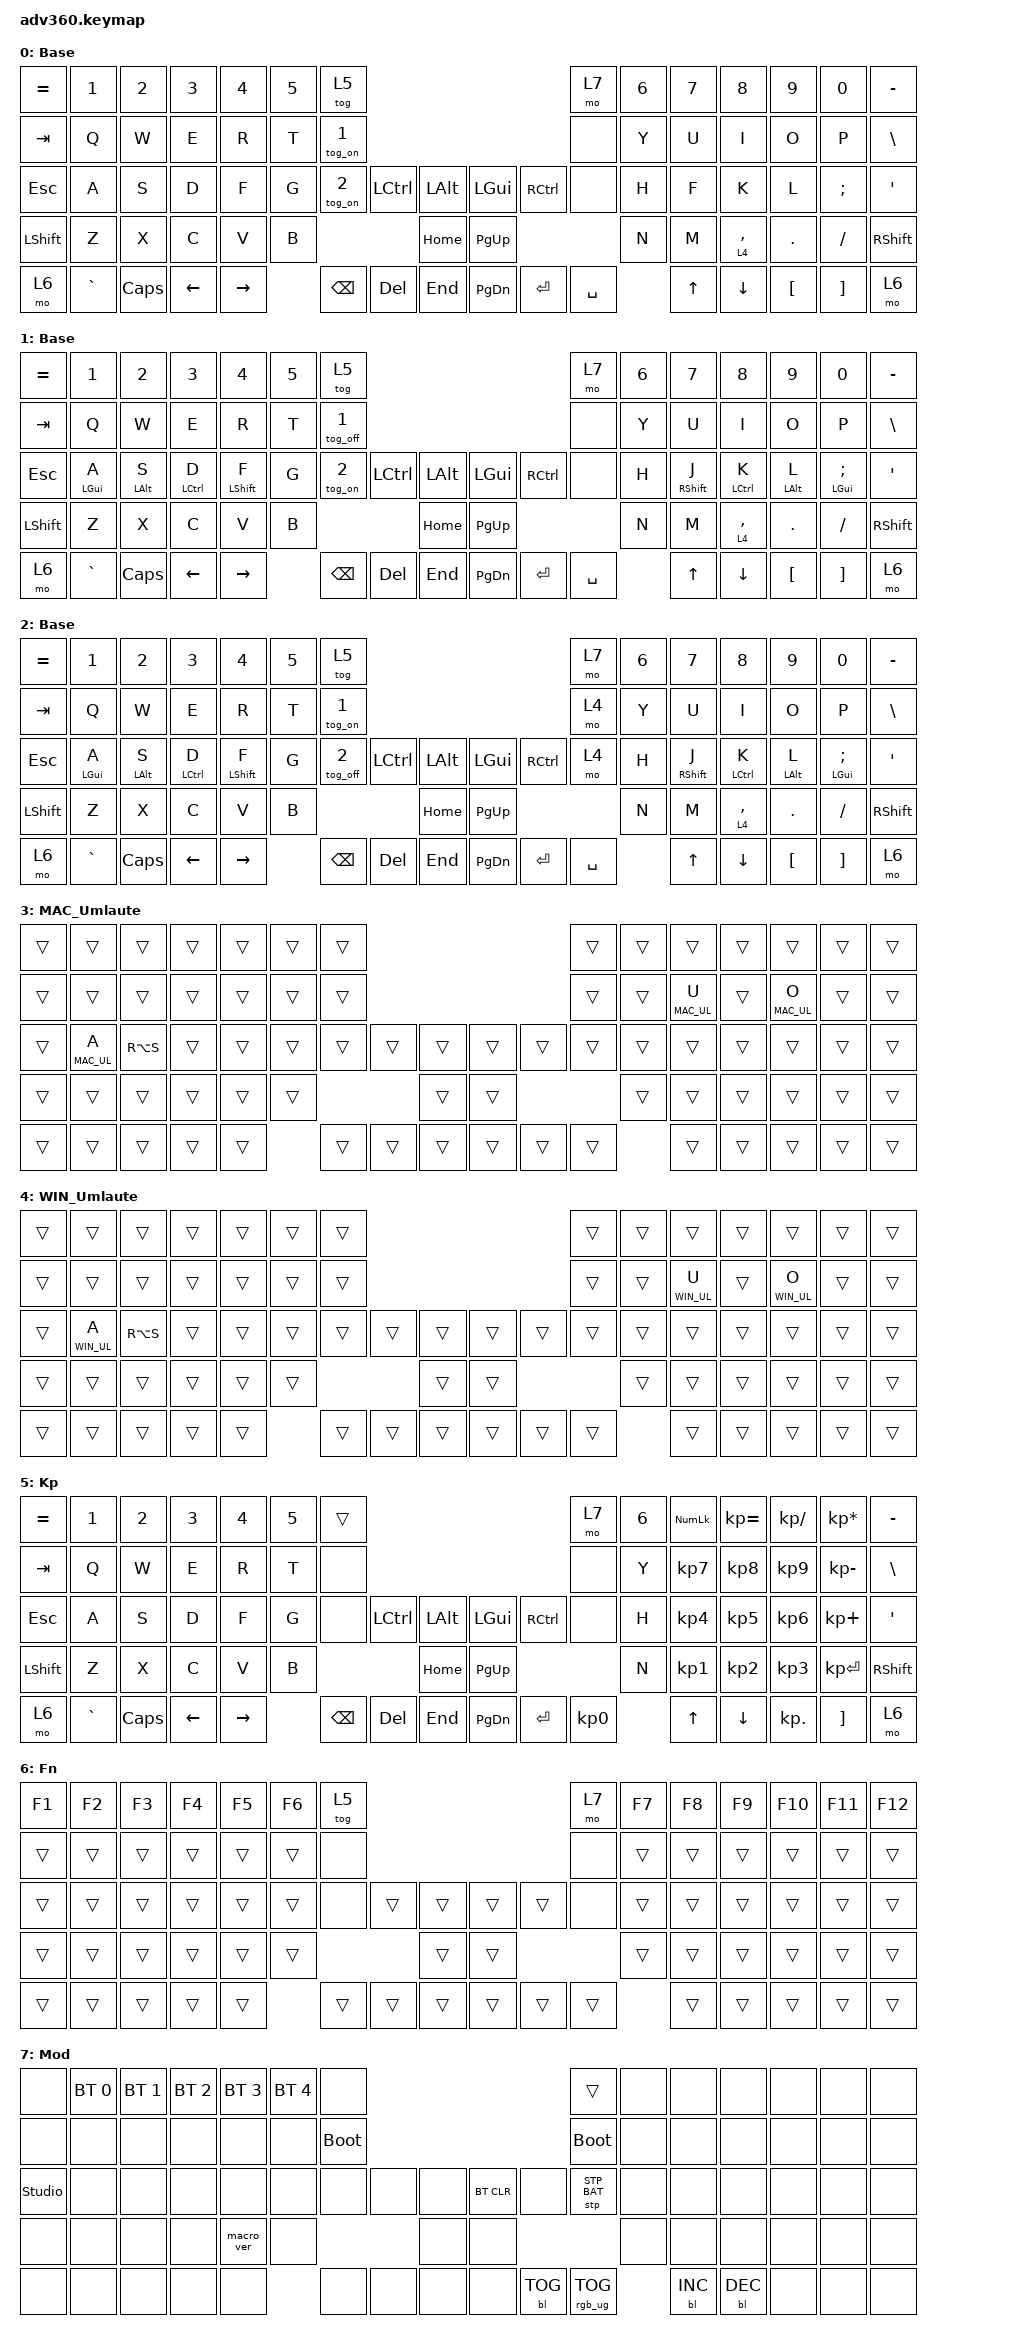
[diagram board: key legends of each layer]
#include <dt-bindings/zmk/stp.h>
#include <behaviors.dtsi>
#include <dt-bindings/zmk/backlight.h>
#include <dt-bindings/zmk/bt.h>
#include <dt-bindings/zmk/keys.h>
#include <dt-bindings/zmk/rgb.h>

/ {
    behaviors {
        #include "macros.dtsi"
      #include "version.dtsi"

        hm: homerow_mods {
            compatible = "zmk,behavior-hold-tap";
            label = "HOMEROW_MODS";
            #binding-cells = <2>;
            tapping-term-ms = <200>;
            quick_tap_ms = <175>;
            flavor = "tap-preferred";
            bindings = <&kp>, <&kp>;
        };

        tog_on: tog_on {
            compatible = "zmk,behavior-toggle-layer";
            label = "TOG_ON";
            #binding-cells = <1>;
        };

        tog_off: tog_off {
            compatible = "zmk,behavior-toggle-layer";
            label = "TOG_OFF";
            #binding-cells = <1>;
            toggle-mode = "off";
        };
    };

    macros {
        MAC_UL: MAC_Umlaut_X {
            compatible = "zmk,behavior-macro-one-param";
            #binding-cells = <1>;
            bindings =
                <&macro_tap>,
                <&kp LS(SINGLE_QUOTE)>,
                <&macro_tap>,
                <&macro_param_1to1 &kp MACRO_PLACEHOLDER>;

            label = "MAC_UMLAUT_X";
        };

        WIN_UL: WIN_UL {
            compatible = "zmk,behavior-macro-one-param";
            #binding-cells = <1>;
            bindings =
                <&macro_tap>,
                <&kp LS(SINGLE_QUOTE)>,
                <&macro_tap>,
                <&macro_param_1to1 &kp MACRO_PLACEHOLDER>;

            label = "WIN_UL";
        };
    };

    keymap {
        compatible = "zmk,keymap";

        Base {
            display-name = "Base";
            bindings = <
&kp EQUAL  &kp N1     &kp N2    &kp N3    &kp N4     &kp N5  &tog 5                                                    &mo 7      &kp N6  &kp N7  &kp N8       &kp N9    &kp N0    &kp MINUS
&kp TAB    &kp Q      &kp W     &kp E     &kp R      &kp T   &tog_on 1                                                 &none      &kp Y   &kp U   &kp I        &kp O     &kp P     &kp BSLH
&kp ESC    &kp A      &kp S     &kp D     &kp F      &kp G   &tog_on 2  &kp LCTRL  &kp LALT      &kp LGUI   &kp RCTRL  &none      &kp H   &kp F   &kp K        &kp L     &kp SEMI  &kp SQT
&kp LSHFT  &kp Z      &kp X     &kp C     &kp V      &kp B                         &kp HOME      &kp PG_UP                        &kp N   &kp M   &lt 4 COMMA  &kp DOT   &kp FSLH  &kp RSHFT
&mo 6      &kp GRAVE  &kp CAPS  &kp LEFT  &kp RIGHT          &kp BSPC   &kp DEL    &kp END       &kp PG_DN  &kp ENTER  &kp SPACE          &kp UP  &kp DOWN     &kp LBKT  &kp RBKT  &mo 6
            >;
        };

        MAC_Default {
            display-name = "Base";
            bindings = <
&kp EQUAL  &kp N1          &kp N2          &kp N3              &kp N4            &kp N5  &tog 5                                                     &mo 7      &kp N6  &kp N7             &kp N8              &kp N9          &kp N0             &kp MINUS
&kp TAB    &kp Q           &kp W           &kp E               &kp R             &kp T   &tog_off 1                                                 &none      &kp Y   &kp U              &kp I               &kp O           &kp P              &kp BSLH
&kp ESC    &hm LEFT_GUI A  &hm LEFT_ALT S  &hm LEFT_CONTROL D  &hm LEFT_SHIFT F  &kp G   &tog_on 2   &kp LCTRL  &kp LALT      &kp LGUI   &kp RCTRL  &none      &kp H   &hm RIGHT_SHIFT J  &hm LEFT_CONTROL K  &hm LEFT_ALT L  &hm LEFT_GUI SEMI  &kp SQT
&kp LSHFT  &kp Z           &kp X           &kp C               &kp V             &kp B                          &kp HOME      &kp PG_UP                        &kp N   &kp M              &lt 4 COMMA         &kp DOT         &kp FSLH           &kp RSHFT
&mo 6      &kp GRAVE       &kp CAPS        &kp LEFT            &kp RIGHT                 &kp BSPC    &kp DEL    &kp END       &kp PG_DN  &kp ENTER  &kp SPACE          &kp UP             &kp DOWN            &kp LBKT        &kp RBKT           &mo 6
            >;
        };

        WIN_Default {
            display-name = "Base";
            bindings = <
&kp EQUAL  &kp N1          &kp N2          &kp N3              &kp N4            &kp N5  &tog 5                                                     &mo 7      &kp N6  &kp N7             &kp N8              &kp N9          &kp N0             &kp MINUS
&kp TAB    &kp Q           &kp W           &kp E               &kp R             &kp T   &tog_on 1                                                  &mo 4      &kp Y   &kp U              &kp I               &kp O           &kp P              &kp BSLH
&kp ESC    &hm LEFT_GUI A  &hm LEFT_ALT S  &hm LEFT_CONTROL D  &hm LEFT_SHIFT F  &kp G   &tog_off 2  &kp LCTRL  &kp LALT      &kp LGUI   &kp RCTRL  &mo 4      &kp H   &hm RIGHT_SHIFT J  &hm LEFT_CONTROL K  &hm LEFT_ALT L  &hm LEFT_GUI SEMI  &kp SQT
&kp LSHFT  &kp Z           &kp X           &kp C               &kp V             &kp B                          &kp HOME      &kp PG_UP                        &kp N   &kp M              &lt 4 COMMA         &kp DOT         &kp FSLH           &kp RSHFT
&mo 6      &kp GRAVE       &kp CAPS        &kp LEFT            &kp RIGHT                 &kp BSPC    &kp DEL    &kp END       &kp PG_DN  &kp ENTER  &kp SPACE          &kp UP             &kp DOWN            &kp LBKT        &kp RBKT           &mo 6
            >;
        };

        MAC_Umlaute {
            bindings = <
&trans  &trans     &trans     &trans  &trans  &trans  &trans                                      &trans  &trans  &trans     &trans  &trans     &trans  &trans
&trans  &trans     &trans     &trans  &trans  &trans  &trans                                      &trans  &trans  &MAC_UL U  &trans  &MAC_UL O  &trans  &trans
&trans  &MAC_UL A  &kp RA(S)  &trans  &trans  &trans  &trans  &trans  &trans      &trans  &trans  &trans  &trans  &trans     &trans  &trans     &trans  &trans
&trans  &trans     &trans     &trans  &trans  &trans                  &trans      &trans                  &trans  &trans     &trans  &trans     &trans  &trans
&trans  &trans     &trans     &trans  &trans          &trans  &trans  &trans      &trans  &trans  &trans          &trans     &trans  &trans     &trans  &trans
            >;
        };

        WIN_Umlaute {
            bindings = <
&trans  &trans     &trans     &trans  &trans  &trans  &trans                                      &trans  &trans  &trans     &trans  &trans     &trans  &trans
&trans  &trans     &trans     &trans  &trans  &trans  &trans                                      &trans  &trans  &WIN_UL U  &trans  &WIN_UL O  &trans  &trans
&trans  &WIN_UL A  &kp RA(S)  &trans  &trans  &trans  &trans  &trans  &trans      &trans  &trans  &trans  &trans  &trans     &trans  &trans     &trans  &trans
&trans  &trans     &trans     &trans  &trans  &trans                  &trans      &trans                  &trans  &trans     &trans  &trans     &trans  &trans
&trans  &trans     &trans     &trans  &trans          &trans  &trans  &trans      &trans  &trans  &trans          &trans     &trans  &trans     &trans  &trans
            >;
        };

        keypad {
            display-name = "Kp";
            bindings = <
&kp EQUAL  &kp N1     &kp N2    &kp N3    &kp N4     &kp N5  &trans                                                   &mo 7      &kp N6  &kp KP_NUM  &kp KP_EQUAL  &kp KP_DIVIDE  &kp KP_MULTIPLY  &kp MINUS
&kp TAB    &kp Q      &kp W     &kp E     &kp R      &kp T   &none                                                    &none      &kp Y   &kp KP_N7   &kp KP_N8     &kp KP_N9      &kp KP_MINUS     &kp BSLH
&kp ESC    &kp A      &kp S     &kp D     &kp F      &kp G   &none     &kp LCTRL  &kp LALT      &kp LGUI   &kp RCTRL  &none      &kp H   &kp KP_N4   &kp KP_N5     &kp KP_N6      &kp KP_PLUS      &kp SQT
&kp LSHFT  &kp Z      &kp X     &kp C     &kp V      &kp B                        &kp HOME      &kp PG_UP                        &kp N   &kp KP_N1   &kp KP_N2     &kp KP_N3      &kp KP_ENTER     &kp RSHFT
&mo 6      &kp GRAVE  &kp CAPS  &kp LEFT  &kp RIGHT          &kp BSPC  &kp DEL    &kp END       &kp PG_DN  &kp ENTER  &kp KP_N0          &kp UP      &kp DOWN      &kp KP_DOT     &kp RBKT         &mo 6
            >;
        };

        fn {
            display-name = "Fn";
            bindings = <
&kp F1  &kp F2  &kp F3  &kp F4  &kp F5  &kp F6  &tog 5                                      &mo 7   &kp F7  &kp F8  &kp F9  &kp F10  &kp F11  &kp F12
&trans  &trans  &trans  &trans  &trans  &trans  &none                                       &none   &trans  &trans  &trans  &trans   &trans   &trans
&trans  &trans  &trans  &trans  &trans  &trans  &none   &trans  &trans      &trans  &trans  &none   &trans  &trans  &trans  &trans   &trans   &trans
&trans  &trans  &trans  &trans  &trans  &trans                  &trans      &trans                  &trans  &trans  &trans  &trans   &trans   &trans
&trans  &trans  &trans  &trans  &trans          &trans  &trans  &trans      &trans  &trans  &trans          &trans  &trans  &trans   &trans   &trans
            >;
        };

        mod {
            display-name = "Mod";
            bindings = <
&none           &bt BT_SEL 0  &bt BT_SEL 1  &bt BT_SEL 2  &bt BT_SEL 3  &bt BT_SEL 4  &none                                                  &trans           &none  &none       &none       &none  &none  &none
&none           &none         &none         &none         &none         &none         &bootloader                                            &bootloader      &none  &none       &none       &none  &none  &none
&studio_unlock  &none         &none         &none         &none         &none         &none        &none  &none      &bt BT_CLR  &none       &stp STP_BAT     &none  &none       &none       &none  &none  &none
&none           &none         &none         &none         &macro_ver    &none                             &none      &none                                    &none  &none       &none       &none  &none  &none
&none           &none         &none         &none         &none                       &none        &none  &none      &none       &bl BL_TOG  &rgb_ug RGB_TOG         &bl BL_INC  &bl BL_DEC  &none  &none  &none
            >;
        };
    };
};
